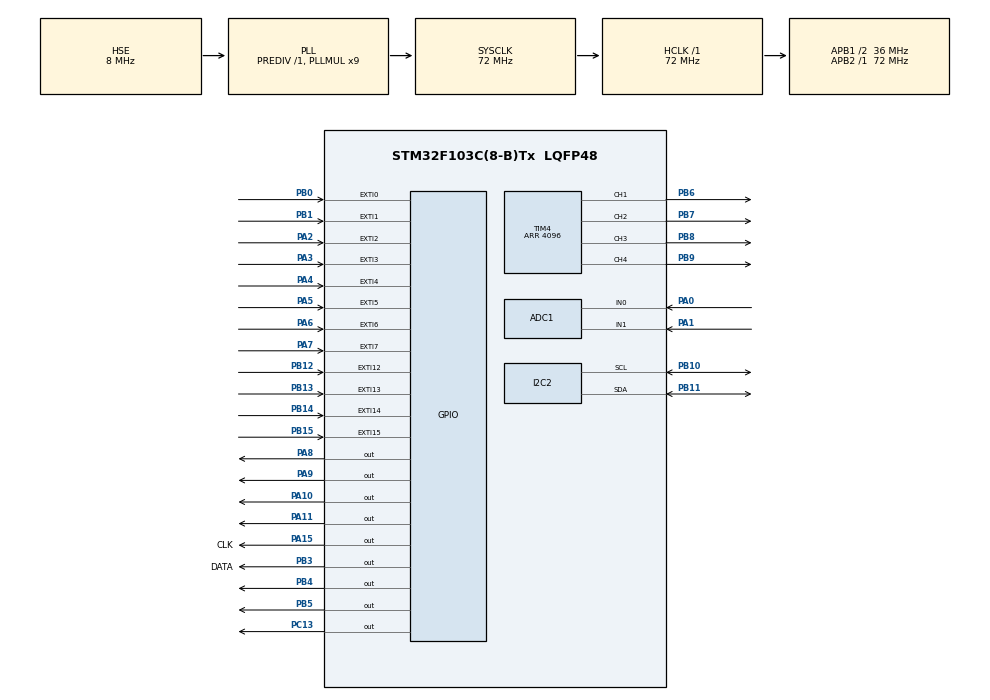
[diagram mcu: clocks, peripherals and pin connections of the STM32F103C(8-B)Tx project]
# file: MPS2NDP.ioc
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ADC1.Channel-0\#ChannelRegularConversion=ADC_CHANNEL_0
ADC1.ContinuousConvMode=DISABLE
ADC1.DataAlign=ADC_DATAALIGN_RIGHT
ADC1.DiscontinuousConvMode=DISABLE
ADC1.EnableAnalogWatchDog=false
ADC1.EnableRegularConversion=ENABLE
ADC1.ExternalTrigConv=ADC_SOFTWARE_START
ADC1.ExternalTrigInjecConv=ADC_INJECTED_SOFTWARE_START
ADC1.InjNumberOfConversion=2
ADC1.NbrOfConversion=1
ADC1.NbrOfConversionFlag=1
ADC1.Rank-0\#ChannelRegularConversion=1
ADC1.Rank-1\#ChannelInjectedConversion=1
ADC1.Rank-2\#ChannelInjectedConversion=2
ADC1.SamplingTime-0\#ChannelRegularConversion=ADC_SAMPLETIME_1CYCLE_5
ADC1.ScanConvMode=ADC_SCAN_ENABLE
ADC1.master=1
Mcu.Family=STM32F1
Mcu.Name=STM32F103C(8-B)Tx
Mcu.Package=LQFP48
NVIC.ADC1_2_IRQn=true\:0\:0\:false\:false\:true\:true\:true\:true
NVIC.EXTI0_IRQn=true\:0\:0\:false\:false\:true\:true\:true\:true
NVIC.EXTI15_10_IRQn=true\:0\:0\:false\:false\:true\:true\:true\:true
NVIC.EXTI1_IRQn=true\:0\:0\:false\:false\:true\:true\:true\:true
NVIC.EXTI2_IRQn=true\:0\:0\:false\:false\:true\:true\:true\:true
NVIC.EXTI3_IRQn=true\:0\:0\:false\:false\:true\:true\:true\:true
NVIC.EXTI4_IRQn=true\:0\:0\:false\:false\:true\:true\:true\:true
NVIC.EXTI9_5_IRQn=true\:0\:0\:false\:false\:true\:true\:true\:true
NVIC.PriorityGroup=NVIC_PRIORITYGROUP_4
NVIC.TIM1_UP_IRQn=true\:0\:0\:false\:false\:true\:true\:true\:true
NVIC.TIM2_IRQn=true\:0\:0\:false\:false\:true\:true\:true\:true
PA0-WKUP.Signal=ADCx_IN0
PA1.Signal=ADCx_IN1
PA10.Signal=GPIO_Output
PA11.Signal=GPIO_Output
PA13.Mode=Serial_Wire
PA13.Signal=SYS_JTMS-SWDIO
PA14.Mode=Serial_Wire
PA14.Signal=SYS_JTCK-SWCLK
PA15.GPIO_Label=CLK
PA15.Signal=GPIO_Output
PA2.GPIO_ModeDefaultEXTI=GPIO_MODE_IT_RISING_FALLING
PA2.GPIO_PuPd=GPIO_PULLDOWN
PA2.Signal=GPXTI2
PA3.GPIO_ModeDefaultEXTI=GPIO_MODE_IT_RISING_FALLING
PA3.GPIO_PuPd=GPIO_PULLDOWN
PA3.Signal=GPXTI3
PA4.GPIO_ModeDefaultEXTI=GPIO_MODE_IT_RISING_FALLING
PA4.GPIO_PuPd=GPIO_PULLDOWN
PA4.Signal=GPXTI4
PA5.GPIO_ModeDefaultEXTI=GPIO_MODE_IT_RISING_FALLING
PA5.GPIO_PuPd=GPIO_PULLDOWN
PA5.Signal=GPXTI5
PA6.GPIO_ModeDefaultEXTI=GPIO_MODE_IT_RISING_FALLING
PA6.GPIO_PuPd=GPIO_PULLDOWN
PA6.Signal=GPXTI6
PA7.GPIO_ModeDefaultEXTI=GPIO_MODE_IT_RISING_FALLING
PA7.GPIO_PuPd=GPIO_PULLDOWN
PA7.Signal=GPXTI7
PA8.Signal=GPIO_Output
PA9.Signal=GPIO_Output
PB0.GPIO_ModeDefaultEXTI=GPIO_MODE_IT_RISING_FALLING
PB0.GPIO_PuPd=GPIO_PULLDOWN
PB0.Signal=GPXTI0
PB1.GPIO_ModeDefaultEXTI=GPIO_MODE_IT_RISING_FALLING
PB1.GPIO_PuPd=GPIO_PULLDOWN
PB1.Signal=GPXTI1
PB10.GPIO_Pu=GPIO_PULLUP
PB10.Mode=I2C
PB10.Signal=I2C2_SCL
PB11.GPIO_Pu=GPIO_PULLUP
PB11.Mode=I2C
PB11.Signal=I2C2_SDA
PB12.GPIO_ModeDefaultEXTI=GPIO_MODE_IT_RISING_FALLING
PB12.GPIO_PuPd=GPIO_PULLDOWN
PB12.Signal=GPXTI12
PB13.GPIO_ModeDefaultEXTI=GPIO_MODE_IT_RISING_FALLING
PB13.GPIO_PuPd=GPIO_PULLDOWN
PB13.Signal=GPXTI13
PB14.GPIO_ModeDefaultEXTI=GPIO_MODE_IT_RISING_FALLING
PB14.GPIO_PuPd=GPIO_PULLDOWN
PB14.Signal=GPXTI14
PB15.GPIO_ModeDefaultEXTI=GPIO_MODE_IT_RISING_FALLING
PB15.GPIO_PuPd=GPIO_PULLDOWN
PB15.Signal=GPXTI15
PB3.GPIO_Label=DATA
PB3.Signal=GPIO_Output
PB4.Signal=GPIO_Output
PB5.Signal=GPIO_Output
PB6.Signal=S_TIM4_CH1
PB7.Signal=S_TIM4_CH2
PB8.Signal=S_TIM4_CH3
PB9.Signal=S_TIM4_CH4
PC13-TAMPER-RTC.Signal=GPIO_Output
PD0-OSC_IN.Mode=HSE-External-Oscillator
PD0-OSC_IN.Signal=RCC_OSC_IN
PD1-OSC_OUT.Mode=HSE-External-Oscillator
PD1-OSC_OUT.Signal=RCC_OSC_OUT
ProjectManager.HeapSize=0x200
ProjectManager.StackSize=0x400
ProjectManager.TargetToolchain=STM32CubeIDE
RCC.ADCPresc=RCC_ADCPCLK2_DIV6
RCC.AHBFreq_Value=72000000
RCC.APB1CLKDivider=RCC_HCLK_DIV2
RCC.APB1Freq_Value=36000000
RCC.APB1TimFreq_Value=72000000
RCC.APB2Freq_Value=72000000
RCC.APB2TimFreq_Value=72000000
RCC.HCLKFreq_Value=72000000
RCC.PLLMUL=RCC_PLL_MUL9
RCC.PLLSourceVirtual=RCC_PLLSOURCE_HSE
RCC.SYSCLKFreq_VALUE=72000000
RCC.SYSCLKSource=RCC_SYSCLKSOURCE_PLLCLK
RCC.USBFreq_Value=72000000
SH.ADCx_IN0.0=ADC1_IN0,IN0
SH.ADCx_IN1.0=ADC1_IN1,IN1
SH.S_TIM4_CH1.0=TIM4_CH1,PWM Generation1 CH1
SH.S_TIM4_CH2.0=TIM4_CH2,PWM Generation2 CH2
SH.S_TIM4_CH3.0=TIM4_CH3,PWM Generation3 CH3
SH.S_TIM4_CH4.0=TIM4_CH4,PWM Generation4 CH4
TIM1.Period=65535
TIM1.Prescaler=500
TIM2.Period=65535
TIM2.Prescaler=100
TIM4.Channel-PWM\ Generation1\ CH1=TIM_CHANNEL_1
TIM4.Channel-PWM\ Generation2\ CH2=TIM_CHANNEL_2
TIM4.Channel-PWM\ Generation3\ CH3=TIM_CHANNEL_3
TIM4.Channel-PWM\ Generation4\ CH4=TIM_CHANNEL_4
TIM4.Period=4096
VP_TIM1_VS_ClockSourceINT.Mode=Internal
VP_TIM2_VS_ClockSourceINT.Mode=Internal
board=Final

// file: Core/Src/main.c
/**
  ******************************************************************************
  * @file           : main.c
  * @brief          : Main program body
  ******************************************************************************
  ** This notice applies to any and all portions of this file
  * that are not between comment pairs USER CODE BEGIN and
  * USER CODE END. Other portions of this file, whether
  * inserted by the user or by software development tools
  * are owned by their respective copyright owners.
  *
  * COPYRIGHT(c) 2020 STMicroelectronics
  *
  * Redistribution and use in source and binary forms, with or without modification,
  * are permitted provided that the following conditions are met:
  *   1. Redistributions of source code must retain the above copyright notice,
  *      this list of conditions and the following disclaimer.
  *   2. Redistributions in binary form must reproduce the above copyright notice,
  *      this list of conditions and the following disclaimer in the documentation
  *      and/or other materials provided with the distribution.
  *   3. Neither the name of STMicroelectronics nor the names of its contributors
  *      may be used to endorse or promote products derived from this software
  *      without specific prior written permission.
  *
  * THIS SOFTWARE IS PROVIDED BY THE COPYRIGHT HOLDERS AND CONTRIBUTORS "AS IS"
  * AND ANY EXPRESS OR IMPLIED WARRANTIES, INCLUDING, BUT NOT LIMITED TO, THE
  * IMPLIED WARRANTIES OF MERCHANTABILITY AND FITNESS FOR A PARTICULAR PURPOSE ARE
  * DISCLAIMED. IN NO EVENT SHALL THE COPYRIGHT HOLDER OR CONTRIBUTORS BE LIABLE
  * FOR ANY DIRECT, INDIRECT, INCIDENTAL, SPECIAL, EXEMPLARY, OR CONSEQUENTIAL
  * DAMAGES (INCLUDING, BUT NOT LIMITED TO, PROCUREMENT OF SUBSTITUTE GOODS OR
  * SERVICES; LOSS OF USE, DATA, OR PROFITS; OR BUSINESS INTERRUPTION) HOWEVER
  * CAUSED AND ON ANY THEORY OF LIABILITY, WHETHER IN CONTRACT, STRICT LIABILITY,
  * OR TORT (INCLUDING NEGLIGENCE OR OTHERWISE) ARISING IN ANY WAY OUT OF THE USE
  * OF THIS SOFTWARE, EVEN IF ADVISED OF THE POSSIBILITY OF SUCH DAMAGE.
  *
  ******************************************************************************
  */
#include "main.h"
#include "stm32f1xx_hal.h"

/* USER CODE BEGIN Includes */
#include "tm1637.h" //Добавляем библиотеку для LED дисплея
/* USER CODE END Includes */

ADC_HandleTypeDef hadc1;

I2C_HandleTypeDef hi2c2;

TIM_HandleTypeDef htim1;
TIM_HandleTypeDef htim2;
TIM_HandleTypeDef htim4;

/* USER CODE BEGIN PV */
/* Private variables ---------------------------------------------------------*/
	uint8_t P=0; //Вводим переменную "P" (аврийка на светодиодах)
	uint8_t Lp=0; //Вводим переменную "Lp" (левый поворотник на светодиодах)
	uint8_t Rp=0; //Вводим переменную "Rp" (правый поворотник на светодиодах)
  uint16_t R1=0; //Вводим переменную "R1" для первого переменного резистора
	uint16_t R2=0; //Вводим переменную "R2" для второго переменного резистора
	uint8_t PLCD=0; //Вводим переменную "PLCD" (аврийка на ЖК дисплее)
	uint8_t LpLCD=0; //Вводим переменную "LpLCD" (левый поворотник на ЖК дисплеее)
	uint8_t RpLCD=0; //Вводим переменную "RpLCD" (правый поворотник на ЖК дисплеее)
	uint8_t W=0;  //Вводим переменную "W" для !WARNING! на ЖКдисплее
	uint16_t RPMHl=0; //Используется для определения оборотов двигателя левого
	uint16_t RPMHr=0; //Используется для определения оборотов двигателя правого
	uint16_t RPMl=0; //Используется для определения оборотов двигателя левого
	uint16_t RPMr=0; //Используется для определения оборотов двигателя правого
	int8_t STOP1=0; //Используется для определения определения напрвления вращения левого колеса
	int8_t STOP2=0; //Используется для определения определения напрвления вращения правого колеса
	uint64_t Mileage1=0; //Пробег 1-ого двигателя (в метрах)
	uint64_t Mileage2=0; //Пробег 2-ого двигателя (в метрах)
	uint8_t ABS=0; //Отвечает за состояние ABS
	int8_t ABSh=0; //Используется для синхронизации скорости вращения двигателей
	char str[100]; //Переменная для вывода строки на ЖК дисплей

/* USER CODE END PV */

void SystemClock_Config(void);
static void MX_GPIO_Init(void);
static void MX_TIM4_Init(void);
static void MX_ADC1_Init(void);
static void MX_I2C2_Init(void);
static void MX_TIM1_Init(void);
static void MX_TIM2_Init(void);

void HAL_TIM_MspPostInit(TIM_HandleTypeDef *htim);

/* USER CODE BEGIN PFP */
/* Private function prototypes -----------------------------------------------*/

/* USER CODE END PFP */

int main(void)
{

  /* MCU Configuration----------------------------------------------------------*/

  /* Reset of all peripherals, Initializes the Flash interface and the Systick. */
  HAL_Init();

  /* Configure the system clock */
  SystemClock_Config();

  /* Initialize all configured peripherals */
  MX_GPIO_Init();
  MX_TIM4_Init();
  MX_ADC1_Init();
  MX_I2C2_Init();
  MX_TIM1_Init();
  MX_TIM2_Init();
  /* USER CODE BEGIN 2 */
	LCD_ini();  //Включаем ЖК дисплей
	TM1637_brightness(BRIGHTEST); //Выставляем яркость LED дисплея на максимум
	        /*Проверка при старте*/
////////////////////////////////////////////////////////////////
/*Все светодиоды включатся*/
	HAL_GPIO_WritePin (GPIOA, GPIO_PIN_8,GPIO_PIN_SET);
	HAL_GPIO_WritePin (GPIOA, GPIO_PIN_9,GPIO_PIN_SET);
	HAL_GPIO_WritePin (GPIOA, GPIO_PIN_10,GPIO_PIN_SET);
	HAL_GPIO_WritePin (GPIOA, GPIO_PIN_11,GPIO_PIN_SET);
	HAL_GPIO_WritePin (GPIOB, GPIO_PIN_4,GPIO_PIN_SET);
	HAL_GPIO_WritePin (GPIOB, GPIO_PIN_5,GPIO_PIN_SET);
////////////////////////////////////////////////////////////////
/*На ЖК дисплее загораются все элементы*/
		LCD_SetPos(15, 0);
		sprintf(str,"|");
		LCD_String(str);
		LCD_SetPos(15, 1);
		sprintf(str,"|");
		LCD_String(str);
		LCD_SetPos(15, 2);
		sprintf(str,"|");
		LCD_String(str);
		LCD_SetPos(15, 3);
		sprintf(str,"|");
		LCD_String(str);
		LCD_SetPos(0, 0);
		sprintf(str,"Power\xFF\xFF\xFF\xFF\xFF\xFF\xFF\xFF\xFF\xFF");
		LCD_String(str);
		LCD_SetPos(0, 1);
		sprintf(str,"Mileage:0000000");
		LCD_String(str);
		LCD_SetPos(0, 2);
		sprintf(str,"RPM:0000  0000");
		LCD_String(str);
		LCD_SetPos(0, 3);
		sprintf(str,"DNR");
		LCD_String(str);
		LCD_SetPos(4, 3);
		sprintf(str,"!WARNING!");
		LCD_String(str);
		LCD_SetPos(17, 0);
		sprintf(str,"ABS");
		LCD_String(str);
		LCD_SetPos(17, 1);
		sprintf(str,"<!>");
		LCD_String(str);
		LCD_SetPos(18, 2);
		sprintf(str,"=D");
		LCD_String(str);
		LCD_SetPos(16, 3);
		sprintf(str,"STOP");
		LCD_String(str);
///////////////////////////////////////////////////////////////////////////////////////////
/*На LED дисплее дорожка делает 2 круга, символизируя загрузку*/
		TM1637_display(0,18);TM1637_display(1,18);TM1637_display(2,18);TM1637_display(3,18);
		HAL_Delay(50);
		TM1637_display(0,19);	TM1637_display(1,19);	TM1637_display(2,19);	TM1637_display(3,19);
		HAL_Delay(50);
		TM1637_display(0,20);TM1637_display(1,20);TM1637_display(2,20);TM1637_display(3,20);
		HAL_Delay(50);
		TM1637_display(0,21);TM1637_display(1,21);TM1637_display(2,21);TM1637_display(3,21);
		HAL_Delay(50);
		TM1637_display(0,22);TM1637_display(1,22);TM1637_display(2,22);TM1637_display(3,22);
		HAL_Delay(50);
		TM1637_display(0,23);TM1637_display(1,23);TM1637_display(2,23);TM1637_display(3,23);
		HAL_Delay(50);

		TM1637_display(0,18);TM1637_display(1,18);TM1637_display(2,18);TM1637_display(3,18);
		HAL_Delay(50);
		TM1637_display(0,19);TM1637_display(1,19);TM1637_display(2,19);TM1637_display(3,19);
		HAL_Delay(50);
		TM1637_display(0,20);TM1637_display(1,20);TM1637_display(2,20);TM1637_display(3,20);
		HAL_Delay(50);
		TM1637_display(0,21);TM1637_display(1,21);TM1637_display(2,21);TM1637_display(3,21);
		HAL_Delay(50);
		TM1637_display(0,22);TM1637_display(1,22);TM1637_display(2,22);TM1637_display(3,22);
		HAL_Delay(50);
		TM1637_display(0,24);TM1637_display(1,24);TM1637_display(2,24);TM1637_display(3,24);
		HAL_Delay(100);
		TM1637_clearDisplay();
		HAL_Delay(500);
/////////////////////////////////////////////////////////////////////////////////////////////
/*Все светодиоды потухают*/
	HAL_GPIO_WritePin (GPIOA, GPIO_PIN_8,GPIO_PIN_RESET);
	HAL_GPIO_WritePin (GPIOA, GPIO_PIN_9,GPIO_PIN_RESET);
	HAL_GPIO_WritePin (GPIOA, GPIO_PIN_10,GPIO_PIN_RESET);
	HAL_GPIO_WritePin (GPIOA, GPIO_PIN_11,GPIO_PIN_RESET);
	HAL_GPIO_WritePin (GPIOB, GPIO_PIN_4,GPIO_PIN_RESET);
	HAL_GPIO_WritePin (GPIOB, GPIO_PIN_5,GPIO_PIN_RESET);
////////////////////////////////////////////////////////
/*Гаснут элементы на ЖК дисплее, имеющие переменное значение*/
	LCD_SetPos(0, 0);
	sprintf(str,"Power          "); //Дорожка POWER
	LCD_String(str);
	LCD_SetPos(0, 3);
	sprintf(str,"   "); //Drive mode
	LCD_String(str);
	LCD_SetPos(4, 3);
	sprintf(str,"         "); //Выключаем !WARNING!
	LCD_String(str);
	LCD_SetPos(17, 0);
	sprintf(str,"   "); //Выключаем ABS
	LCD_String(str);
	LCD_SetPos(17, 1);
	sprintf(str,"   "); //Выключаем аварийку и поворотники
	LCD_String(str);
	LCD_SetPos(18, 2);
	sprintf(str,"  "); //Выключаем фары
	LCD_String(str);
	LCD_SetPos(16, 3);
	sprintf(str,"    "); //Выключаем ручник "STOP"
	LCD_String(str);

//////////////////////////////////////////////////////////////////////////////////////////////////////////////////////////////////////
  HAL_TIM_Base_Start_IT(&htim1); //Стартуем таймер 1 по прерыванию (для светодиодов).
	HAL_TIM_Base_Start_IT(&htim2); //Стартуем таймер 1 по прерыванию (для переменного резистора).
	HAL_TIM_PWM_Start(&htim4, TIM_CHANNEL_1); //Стартуем таймер 4 (по ШИМ каналу 1) для драйвера
	HAL_TIM_PWM_Start(&htim4, TIM_CHANNEL_2); //Стартуем таймер 4 (по ШИМ каналу 2) для драйвера
	HAL_TIM_PWM_Start(&htim4, TIM_CHANNEL_3); //Стартуем таймер 4 (по ШИМ каналу 3) для драйвера
	HAL_TIM_PWM_Start(&htim4, TIM_CHANNEL_4); //Стартуем таймер 4 (по ШИМ каналу 4) для драйвера
	HAL_ADC_Start_IT(&hadc1);  //Стартуем прерывание по АЦП 1
 // TM1637_brightness(BRIGHTEST); //Выставляем яркость LED дисплея на максимум
////////////////////////////////////////////////////////////////////////////////////////////////////////////////////////////////////
/*Вводим переменные для вывода на дисплеи элементов в момент их вызова*/
uint16_t led=0; //Скорость на LED дисплее (м/мин)
  uint64_t Mileages=0; //Пробег
	uint16_t RPMls=0; //Обороты левого колеса
	uint16_t RPMrs=0; //Обороты правого колеса
	uint8_t lights=0; //Фары
	uint8_t lp=0; //Левый поворотник
  uint8_t rp=0;  //Правый поворотник
	uint8_t p=0;  //Аварийка
	uint8_t ff=0;  //POWER- дорожка
	uint8_t hb=0;  //Ручник (HandBreak)
	uint8_t w=0; //!WARNING!
	uint8_t abs=0; //ABS
////////////////////////////////////////////////////////////////////////////////////////////////////////////////////////////////////
  /* USER CODE END 2 */

  /* Infinite loop */
  /* USER CODE BEGIN WHILE */
  while (1)
  {
		/*Вывод значения на LED дисплей*/
///////////////////////////////////////////////////////////////////////////
		if(led!=(RPMl+RPMr)/175){
	    TM1637_display_all((RPMl+RPMr)/175);  //Выводим скорость в метрах в минуту
			led=(RPMl+RPMr)/175;
		}
////////////////////////////////////////////////////////////////////////////
  /* USER CODE END WHILE */

  /* USER CODE BEGIN 3 */
		                                /*Вывод значений на ЖК дисплей*/
//////////////////////////////////////////////////////////////////////////////////////////////////////////////////////////////////////
	  /*Пробег*/
		if(Mileages!=(Mileage1+Mileage2)/3806){
			LCD_SetPos(8, 1);
			sprintf(str,"%07d",(Mileage1+Mileage2)/3806); //Выводим пробег
			LCD_String(str);
			Mileages=(Mileage1+Mileage2)/3806;
		}
////////////////////////////////////
	  /*RPM*/
		if(RPMls!=RPMl/34){
			LCD_SetPos(4, 2);
			sprintf(str,"%04d",RPMl/34); //Выводим обороты первого двигателя
			LCD_String(str);
			RPMls=RPMl/34;
		}
		if(RPMrs!=RPMr/34){
			LCD_SetPos(10, 2);
			sprintf(str,"%04d",RPMr/34); //Выводим обороты второго двигателя
			LCD_String(str);
			RPMrs=RPMr/34;
		}
//////////////////////////////////////////////////////////////////////////////////////////////////////////////////////////////////////
	  /*Фары*/
		if(HAL_GPIO_ReadPin (GPIOA,GPIO_PIN_9)==GPIO_PIN_RESET&&lights==0){
			LCD_SetPos(18, 2);
			sprintf(str,"  ");
			LCD_String(str);
			lights=1;
		}
		if(HAL_GPIO_ReadPin (GPIOA,GPIO_PIN_9)==GPIO_PIN_SET&&lights==1){
			LCD_SetPos(18, 2);
			sprintf(str,"=D");
			LCD_String(str);
			lights=0;
		}
/////////////////////////////////////////////////////////////
		/*Drive mode*/
			if(HAL_GPIO_ReadPin (GPIOB,GPIO_PIN_0)==GPIO_PIN_SET){
				LCD_SetPos(0, 3);
				sprintf(str,"D  ");
				LCD_String(str);
			}
			if(HAL_GPIO_ReadPin (GPIOB,GPIO_PIN_1)==GPIO_PIN_SET){
				LCD_SetPos(0, 3);
				sprintf(str,"  R");
				LCD_String(str);
			}
		 if(HAL_GPIO_ReadPin (GPIOB,GPIO_PIN_0)==GPIO_PIN_RESET&&HAL_GPIO_ReadPin (GPIOB,GPIO_PIN_1)==GPIO_PIN_RESET){
				LCD_SetPos(0, 3);
				sprintf(str," N ");
				LCD_String(str);
			 }
//////////////////////////////////////////////////////////////
 /*Поворотники*/
		 /*Левый*/
		if(LpLCD==3){
			LCD_SetPos(17, 1);
			sprintf(str,"<");
			LCD_String(str);
			lp=0;
			}
    if(LpLCD==2){
		 LCD_SetPos(17, 1);
			sprintf(str," ");
			LCD_String(str);
		}
		if(LpLCD==1&&lp==0){
			LCD_SetPos(17, 1);
			sprintf(str," ");
			LCD_String(str);
			LpLCD=0;
			lp=1;
		}
		/*Правый*/
		if(RpLCD==3){
			LCD_SetPos(19, 1);
			sprintf(str,">");
			LCD_String(str);
			rp=0;
			}
    if(RpLCD==2){
		 LCD_SetPos(19, 1);
			sprintf(str," ");
			LCD_String(str);
		}
		if(RpLCD==1&&rp==0){
			LCD_SetPos(19, 1);
			sprintf(str," ");
			LCD_String(str);
			RpLCD=0;
			rp=1;
		}

//////////////////////////////////////////////////////////////
		/*Аварийка*/
		if(PLCD==3){
			LCD_SetPos(17, 1);
			sprintf(str,"<!>");
			LCD_String(str);
	    p=0;
		}
		if(PLCD==2){
			LCD_SetPos(17, 1);
			sprintf(str," ! ");
			LCD_String(str);
		}
		if(PLCD==1&&p==0){
			LCD_SetPos(17, 1);
			sprintf(str,"   ");
			LCD_String(str);
			PLCD=0;
			p=1;
		}
////////////////////////////////////////////////////////////////////
		/*ABS*/
		if(ABS==0&&abs==0){
			LCD_SetPos(17, 0);
			sprintf(str,"   ");
			LCD_String(str);
			abs=1;
		}
		if(ABS==1&&abs==1){
			LCD_SetPos(17, 0);
			sprintf(str,"ABS");
			LCD_String(str);
			abs=0;
		}
//////////////////////////////////////////////////////////////
		/*Ручник*/
		if(HAL_GPIO_ReadPin (GPIOA,GPIO_PIN_7)==GPIO_PIN_RESET&&hb==0){
			LCD_SetPos(16, 3);
			sprintf(str,"    ");
			LCD_String(str);
			hb=1;
		}
		if(HAL_GPIO_ReadPin (GPIOA,GPIO_PIN_7)==GPIO_PIN_SET){
			LCD_SetPos(16, 3);
			sprintf(str,"STOP");
			LCD_String(str);
			hb=0;
		}
///////////////////////////////////////////////////////////////
		/*!WARNING!*/
		if(W==0&&w==0){
			LCD_SetPos(4, 3);
			sprintf(str,"         ");
			LCD_String(str);
			w=1;
		}
		if(W==1&&w==1){
			LCD_SetPos(4, 3);
			sprintf(str,"!WARNING!");
			LCD_String(str);
			w=0;
		}
///////////////////////////////////////////////////////////////
    /*POWER*/
		if(R1==0&&ff!=0){ //Если R1=0%
		  LCD_SetPos(5, 0);
		  sprintf(str,"          ");
		  LCD_String(str);
			ff=0;
		}
    if(R1>=402.8&&R1<805.6&&ff!=1){  //Если R1=10%
		  LCD_SetPos(5, 0);
		  sprintf(str,"\xFF         ");
		  LCD_String(str);
			ff=1;
		}
   if(R1>=805.6&&R1<1208.4&&ff!=2){  //Если R1=20%
		  LCD_SetPos(5, 0);
		  sprintf(str,"\xFF\xFF        ");
		  LCD_String(str);
			ff=2;
		}
   if(R1>=1208.4&&R1<1611.2&&ff!=3){  //Если R1=30%
		  LCD_SetPos(5, 0);
		  sprintf(str,"\xFF\xFF\xFF       ");
		  LCD_String(str);
			ff=3;
		}
   if(R1>=1611.2&&R1<2014.0&&ff!=4){  //Если R1=40%
		  LCD_SetPos(5, 0);
		  sprintf(str,"\xFF\xFF\xFF\xFF      ");
		  LCD_String(str);
			ff=4;
		}
   if(R1>=2014.0&&R1<2416.8&&ff!=5){  //Если R1=50%
		  LCD_SetPos(5, 0);
		  sprintf(str,"\xFF\xFF\xFF\xFF\xFF     ");
		  LCD_String(str);
			ff=5;
		}
   if(R1>=2416.8&&R1<2819.6&&ff!=6){  //Если R1=60%
		  LCD_SetPos(5, 0);
		  sprintf(str,"\xFF\xFF\xFF\xFF\xFF\xFF    ");
		  LCD_String(str);
			ff=6;
		}
   if(R1>=2819.6&&R1<3222.4&&ff!=7){  //Если R1=70%
		  LCD_SetPos(5, 0);
		  sprintf(str,"\xFF\xFF\xFF\xFF\xFF\xFF\xFF   ");
		  LCD_String(str);
			ff=7;
		}
   if(R1>=3222.4&&R1<3625.2&&ff!=8){  //Если R1=80%
		  LCD_SetPos(5, 0);
		  sprintf(str,"\xFF\xFF\xFF\xFF\xFF\xFF\xFF\xFF  ");
		  LCD_String(str);
			ff=8;
		}
   if(R1>=3625.2&&R1<3900.0&&ff!=9){  //Если R1=90%
		  LCD_SetPos(5, 0);
		  sprintf(str,"\xFF\xFF\xFF\xFF\xFF\xFF\xFF\xFF\xFF ");
		  LCD_String(str);
			ff=9;
		}
   if(R1>=3900.0&&ff!=10){  //Если R1=100%
		  LCD_SetPos(5, 0);
		  sprintf(str,"\xFF\xFF\xFF\xFF\xFF\xFF\xFF\xFF\xFF\xFF");
		  LCD_String(str);
			ff=10;
		}
//////////////////////////////////////////////////////////////////////////////////////////////////////////////////////////////////////
//	  HAL_Delay(100);
		HAL_GPIO_TogglePin(GPIOC, GPIO_PIN_13);  //Мигаем 13-м светодиодом для проверки скорости работы while
	}
  /* USER CODE END 3 */

}

void SystemClock_Config(void)
{

  RCC_OscInitTypeDef RCC_OscInitStruct;
  RCC_ClkInitTypeDef RCC_ClkInitStruct;
  RCC_PeriphCLKInitTypeDef PeriphClkInit;

    /**Initializes the CPU, AHB and APB busses clocks
    */
  RCC_OscInitStruct.OscillatorType = RCC_OSCILLATORTYPE_HSE;
  RCC_OscInitStruct.HSEState = RCC_HSE_ON;
  RCC_OscInitStruct.HSEPredivValue = RCC_HSE_PREDIV_DIV1;
  RCC_OscInitStruct.HSIState = RCC_HSI_ON;
  RCC_OscInitStruct.PLL.PLLState = RCC_PLL_ON;
  RCC_OscInitStruct.PLL.PLLSource = RCC_PLLSOURCE_HSE;
  RCC_OscInitStruct.PLL.PLLMUL = RCC_PLL_MUL9;
  if (HAL_RCC_OscConfig(&RCC_OscInitStruct) != HAL_OK)
  {
    _Error_Handler(__FILE__, __LINE__);
  }

    /**Initializes the CPU, AHB and APB busses clocks
    */
  RCC_ClkInitStruct.ClockType = RCC_CLOCKTYPE_HCLK|RCC_CLOCKTYPE_SYSCLK
                              |RCC_CLOCKTYPE_PCLK1|RCC_CLOCKTYPE_PCLK2;
  RCC_ClkInitStruct.SYSCLKSource = RCC_SYSCLKSOURCE_PLLCLK;
  RCC_ClkInitStruct.AHBCLKDivider = RCC_SYSCLK_DIV1;
  RCC_ClkInitStruct.APB1CLKDivider = RCC_HCLK_DIV2;
  RCC_ClkInitStruct.APB2CLKDivider = RCC_HCLK_DIV1;

  if (HAL_RCC_ClockConfig(&RCC_ClkInitStruct, FLASH_LATENCY_2) != HAL_OK)
  {
    _Error_Handler(__FILE__, __LINE__);
  }

  PeriphClkInit.PeriphClockSelection = RCC_PERIPHCLK_ADC;
  PeriphClkInit.AdcClockSelection = RCC_ADCPCLK2_DIV6;
  if (HAL_RCCEx_PeriphCLKConfig(&PeriphClkInit) != HAL_OK)
  {
    _Error_Handler(__FILE__, __LINE__);
  }

    /**Configure the Systick interrupt time
    */
  HAL_SYSTICK_Config(HAL_RCC_GetHCLKFreq()/1000);

    /**Configure the Systick
    */
  HAL_SYSTICK_CLKSourceConfig(SYSTICK_CLKSOURCE_HCLK);

  /* SysTick_IRQn interrupt configuration */
  HAL_NVIC_SetPriority(SysTick_IRQn, 0, 0);
}

/* ADC1 init function */
static void MX_ADC1_Init(void)
{

  ADC_ChannelConfTypeDef sConfig;
  ADC_InjectionConfTypeDef sConfigInjected;

    /**Common config
    */
  hadc1.Instance = ADC1;
  hadc1.Init.ScanConvMode = ADC_SCAN_ENABLE;
  hadc1.Init.ContinuousConvMode = DISABLE;
  hadc1.Init.DiscontinuousConvMode = DISABLE;
  hadc1.Init.ExternalTrigConv = ADC_SOFTWARE_START;
  hadc1.Init.DataAlign = ADC_DATAALIGN_RIGHT;
  hadc1.Init.NbrOfConversion = 1;
  if (HAL_ADC_Init(&hadc1) != HAL_OK)
  {
    _Error_Handler(__FILE__, __LINE__);
  }

    /**Configure Regular Channel
    */
  sConfig.Channel = ADC_CHANNEL_0;
  sConfig.Rank = ADC_REGULAR_RANK_1;
  sConfig.SamplingTime = ADC_SAMPLETIME_1CYCLE_5;
  if (HAL_ADC_ConfigChannel(&hadc1, &sConfig) != HAL_OK)
  {
    _Error_Handler(__FILE__, __LINE__);
  }

    /**Configure Injected Channel
    */
  sConfigInjected.InjectedChannel = ADC_CHANNEL_0;
  sConfigInjected.InjectedRank = ADC_INJECTED_RANK_1;
  sConfigInjected.InjectedNbrOfConversion = 2;
  sConfigInjected.InjectedSamplingTime = ADC_SAMPLETIME_1CYCLE_5;
  sConfigInjected.ExternalTrigInjecConv = ADC_INJECTED_SOFTWARE_START;
  sConfigInjected.AutoInjectedConv = DISABLE;
  sConfigInjected.InjectedDiscontinuousConvMode = DISABLE;
  sConfigInjected.InjectedOffset = 0;
  if (HAL_ADCEx_InjectedConfigChannel(&hadc1, &sConfigInjected) != HAL_OK)
  {
    _Error_Handler(__FILE__, __LINE__);
  }

    /**Configure Injected Channel
    */
  sConfigInjected.InjectedChannel = ADC_CHANNEL_1;
  sConfigInjected.InjectedRank = ADC_INJECTED_RANK_2;
  if (HAL_ADCEx_InjectedConfigChannel(&hadc1, &sConfigInjected) != HAL_OK)
  {
    _Error_Handler(__FILE__, __LINE__);
  }

}

/* I2C2 init function */
static void MX_I2C2_Init(void)
{

  hi2c2.Instance = I2C2;
  hi2c2.Init.ClockSpeed = 100000;
  hi2c2.Init.DutyCycle = I2C_DUTYCYCLE_2;
  hi2c2.Init.OwnAddress1 = 0;
  hi2c2.Init.AddressingMode = I2C_ADDRESSINGMODE_7BIT;
  hi2c2.Init.DualAddressMode = I2C_DUALADDRESS_DISABLE;
  hi2c2.Init.OwnAddress2 = 0;
  hi2c2.Init.GeneralCallMode = I2C_GENERALCALL_DISABLE;
  hi2c2.Init.NoStretchMode = I2C_NOSTRETCH_DISABLE;
  if (HAL_I2C_Init(&hi2c2) != HAL_OK)
  {
    _Error_Handler(__FILE__, __LINE__);
  }

}

/* TIM1 init function */
static void MX_TIM1_Init(void)
{

  TIM_ClockConfigTypeDef sClockSourceConfig;
  TIM_MasterConfigTypeDef sMasterConfig;

  htim1.Instance = TIM1;
  htim1.Init.Prescaler = 500;
  htim1.Init.CounterMode = TIM_COUNTERMODE_UP;
  htim1.Init.Period = 65535;
  htim1.Init.ClockDivision = TIM_CLOCKDIVISION_DIV1;
  htim1.Init.RepetitionCounter = 0;
  htim1.Init.AutoReloadPreload = TIM_AUTORELOAD_PRELOAD_DISABLE;
  if (HAL_TIM_Base_Init(&htim1) != HAL_OK)
  {
    _Error_Handler(__FILE__, __LINE__);
  }

  sClockSourceConfig.ClockSource = TIM_CLOCKSOURCE_INTERNAL;
  if (HAL_TIM_ConfigClockSource(&htim1, &sClockSourceConfig) != HAL_OK)
  {
    _Error_Handler(__FILE__, __LINE__);
  }

  sMasterConfig.MasterOutputTrigger = TIM_TRGO_RESET;
  sMasterConfig.MasterSlaveMode = TIM_MASTERSLAVEMODE_DISABLE;
  if (HAL_TIMEx_MasterConfigSynchronization(&htim1, &sMasterConfig) != HAL_OK)
  {
    _Error_Handler(__FILE__, __LINE__);
  }

}

/* TIM2 init function */
static void MX_TIM2_Init(void)
{

  TIM_ClockConfigTypeDef sClockSourceConfig;
  TIM_MasterConfigTypeDef sMasterConfig;

  htim2.Instance = TIM2;
  htim2.Init.Prescaler = 100;
  htim2.Init.CounterMode = TIM_COUNTERMODE_UP;
  htim2.Init.Period = 65535;
  htim2.Init.ClockDivision = TIM_CLOCKDIVISION_DIV1;
  htim2.Init.AutoReloadPreload = TIM_AUTORELOAD_PRELOAD_DISABLE;
  if (HAL_TIM_Base_Init(&htim2) != HAL_OK)
  {
    _Error_Handler(__FILE__, __LINE__);
  }

  sClockSourceConfig.ClockSource = TIM_CLOCKSOURCE_INTERNAL;
  if (HAL_TIM_ConfigClockSource(&htim2, &sClockSourceConfig) != HAL_OK)
  {
    _Error_Handler(__FILE__, __LINE__);
  }

  sMasterConfig.MasterOutputTrigger = TIM_TRGO_RESET;
  sMasterConfig.MasterSlaveMode = TIM_MASTERSLAVEMODE_DISABLE;
  if (HAL_TIMEx_MasterConfigSynchronization(&htim2, &sMasterConfig) != HAL_OK)
  {
    _Error_Handler(__FILE__, __LINE__);
  }

}

/* TIM4 init function */
static void MX_TIM4_Init(void)
{

  TIM_MasterConfigTypeDef sMasterConfig;
  TIM_OC_InitTypeDef sConfigOC;

  htim4.Instance = TIM4;
  htim4.Init.Prescaler = 0;
  htim4.Init.CounterMode = TIM_COUNTERMODE_UP;
  htim4.Init.Period = 4096;
  htim4.Init.ClockDivision = TIM_CLOCKDIVISION_DIV1;
  htim4.Init.AutoReloadPreload = TIM_AUTORELOAD_PRELOAD_DISABLE;
  if (HAL_TIM_PWM_Init(&htim4) != HAL_OK)
  {
    _Error_Handler(__FILE__, __LINE__);
  }

  sMasterConfig.MasterOutputTrigger = TIM_TRGO_RESET;
  sMasterConfig.MasterSlaveMode = TIM_MASTERSLAVEMODE_DISABLE;
  if (HAL_TIMEx_MasterConfigSynchronization(&htim4, &sMasterConfig) != HAL_OK)
  {
    _Error_Handler(__FILE__, __LINE__);
  }

  sConfigOC.OCMode = TIM_OCMODE_PWM1;
  sConfigOC.Pulse = 0;
  sConfigOC.OCPolarity = TIM_OCPOLARITY_HIGH;
  sConfigOC.OCFastMode = TIM_OCFAST_DISABLE;
  if (HAL_TIM_PWM_ConfigChannel(&htim4, &sConfigOC, TIM_CHANNEL_1) != HAL_OK)
  {
    _Error_Handler(__FILE__, __LINE__);
  }

  if (HAL_TIM_PWM_ConfigChannel(&htim4, &sConfigOC, TIM_CHANNEL_2) != HAL_OK)
  {
    _Error_Handler(__FILE__, __LINE__);
  }

  if (HAL_TIM_PWM_ConfigChannel(&htim4, &sConfigOC, TIM_CHANNEL_3) != HAL_OK)
  {
    _Error_Handler(__FILE__, __LINE__);
  }

  if (HAL_TIM_PWM_ConfigChannel(&htim4, &sConfigOC, TIM_CHANNEL_4) != HAL_OK)
  {
    _Error_Handler(__FILE__, __LINE__);
  }

  HAL_TIM_MspPostInit(&htim4);

}

/** Configure pins as
        * Analog
        * Input
        * Output
        * EVENT_OUT
        * EXTI
*/
static void MX_GPIO_Init(void)
{

  GPIO_InitTypeDef GPIO_InitStruct;

  /* GPIO Ports Clock Enable */
  __HAL_RCC_GPIOC_CLK_ENABLE();
  __HAL_RCC_GPIOD_CLK_ENABLE();
  __HAL_RCC_GPIOA_CLK_ENABLE();
  __HAL_RCC_GPIOB_CLK_ENABLE();

  /*Configure GPIO pin Output Level */
  HAL_GPIO_WritePin(GPIOC, GPIO_PIN_13, GPIO_PIN_RESET);

  /*Configure GPIO pin Output Level */
  HAL_GPIO_WritePin(GPIOA, GPIO_PIN_8|GPIO_PIN_9|GPIO_PIN_10|GPIO_PIN_11
                          |CLK_Pin, GPIO_PIN_RESET);

  /*Configure GPIO pin Output Level */
  HAL_GPIO_WritePin(GPIOB, DATA_Pin|GPIO_PIN_4|GPIO_PIN_5, GPIO_PIN_RESET);

  /*Configure GPIO pin : PC13 */
  GPIO_InitStruct.Pin = GPIO_PIN_13;
  GPIO_InitStruct.Mode = GPIO_MODE_OUTPUT_PP;
  GPIO_InitStruct.Speed = GPIO_SPEED_FREQ_LOW;
  HAL_GPIO_Init(GPIOC, &GPIO_InitStruct);

  /*Configure GPIO pins : PA2 PA3 PA4 PA5
                           PA6 PA7 */
  GPIO_InitStruct.Pin = GPIO_PIN_2|GPIO_PIN_3|GPIO_PIN_4|GPIO_PIN_5
                          |GPIO_PIN_6|GPIO_PIN_7;
  GPIO_InitStruct.Mode = GPIO_MODE_IT_RISING_FALLING;
  GPIO_InitStruct.Pull = GPIO_PULLDOWN;
  HAL_GPIO_Init(GPIOA, &GPIO_InitStruct);

  /*Configure GPIO pins : PB0 PB1 PB12 PB13
                           PB14 PB15 */
  GPIO_InitStruct.Pin = GPIO_PIN_0|GPIO_PIN_1|GPIO_PIN_12|GPIO_PIN_13
                          |GPIO_PIN_14|GPIO_PIN_15;
  GPIO_InitStruct.Mode = GPIO_MODE_IT_RISING_FALLING;
  GPIO_InitStruct.Pull = GPIO_PULLDOWN;
  HAL_GPIO_Init(GPIOB, &GPIO_InitStruct);

  /*Configure GPIO pins : PA8 PA9 PA10 PA11
                           CLK_Pin */
  GPIO_InitStruct.Pin = GPIO_PIN_8|GPIO_PIN_9|GPIO_PIN_10|GPIO_PIN_11
                          |CLK_Pin;
  GPIO_InitStruct.Mode = GPIO_MODE_OUTPUT_PP;
  GPIO_InitStruct.Speed = GPIO_SPEED_FREQ_LOW;
  HAL_GPIO_Init(GPIOA, &GPIO_InitStruct);

  /*Configure GPIO pins : DATA_Pin PB4 PB5 */
  GPIO_InitStruct.Pin = DATA_Pin|GPIO_PIN_4|GPIO_PIN_5;
  GPIO_InitStruct.Mode = GPIO_MODE_OUTPUT_PP;
  GPIO_InitStruct.Speed = GPIO_SPEED_FREQ_LOW;
  HAL_GPIO_Init(GPIOB, &GPIO_InitStruct);

  /* EXTI interrupt init*/
  HAL_NVIC_SetPriority(EXTI0_IRQn, 0, 0);
  HAL_NVIC_EnableIRQ(EXTI0_IRQn);

  HAL_NVIC_SetPriority(EXTI1_IRQn, 0, 0);
  HAL_NVIC_EnableIRQ(EXTI1_IRQn);

  HAL_NVIC_SetPriority(EXTI2_IRQn, 0, 0);
  HAL_NVIC_EnableIRQ(EXTI2_IRQn);

  HAL_NVIC_SetPriority(EXTI3_IRQn, 0, 0);
  HAL_NVIC_EnableIRQ(EXTI3_IRQn);

  HAL_NVIC_SetPriority(EXTI4_IRQn, 0, 0);
  HAL_NVIC_EnableIRQ(EXTI4_IRQn);

  HAL_NVIC_SetPriority(EXTI9_5_IRQn, 0, 0);
  HAL_NVIC_EnableIRQ(EXTI9_5_IRQn);

  HAL_NVIC_SetPriority(EXTI15_10_IRQn, 0, 0);
  HAL_NVIC_EnableIRQ(EXTI15_10_IRQn);

}

/* USER CODE BEGIN 4 */
void HAL_ADCEx_InjectedConvCpltCallback(ADC_HandleTypeDef* hadc1) // - прерывание по оканчанию АЦП
{
	R1=HAL_ADCEx_InjectedGetValue(hadc1,ADC_INJECTED_RANK_1);//Заносим в переменную R1 результат АЦП 1-ого канала
	R2=HAL_ADCEx_InjectedGetValue(hadc1,ADC_INJECTED_RANK_2);//Заносим в переменную R2 результат АЦП 2-ого канала

////////////////////////////////////////////////////////////////////////////////////////////////////////////////////////////////////////
	if(HAL_GPIO_ReadPin (GPIOB,GPIO_PIN_0)==GPIO_PIN_SET && HAL_GPIO_ReadPin (GPIOA,GPIO_PIN_7)==GPIO_PIN_RESET&&R2<=400){ //Если рычаг переключен вперед (D) и если ручник не опущен:
		/*Моторы вращаются вперед*/
		TIM4->CCR1=R1; //Заносим в регистр значение (R1) для изменения скважнести ШИМа
		TIM4->CCR2=0; //Заносим в регистр значение (0) для изменения скважнести ШИМа
		TIM4->CCR3=R1; //Заносим в регистр значение (R1) для изменения скважнести ШИМа
		TIM4->CCR4=0; //Заносим в регистр значение (0) для изменения скважнести ШИМа
	}
	if(HAL_GPIO_ReadPin (GPIOB,GPIO_PIN_1)==GPIO_PIN_SET && HAL_GPIO_ReadPin (GPIOA,GPIO_PIN_7)==GPIO_PIN_RESET&&R2<=400){ //Иначе, если рычаг переключен назад(R) и если ручник не опущен:
		/*Моторы вращаются назад*/
		TIM4->CCR1=0; //Заносим в регистр значение (0) для изменения скважнести ШИМа
		TIM4->CCR2=R1; //Заносим в регистр значение (R1) для изменения скважнести ШИМа
		TIM4->CCR3=0; //Заносим в регистр значение (0) для изменения скважнести ШИМа
		TIM4->CCR4=R1; //Заносим в регистр значение (R1) для изменения скважнести ШИМа
	}
	if(HAL_GPIO_ReadPin (GPIOB,GPIO_PIN_0)==GPIO_PIN_RESET && HAL_GPIO_ReadPin (GPIOB,GPIO_PIN_1)==GPIO_PIN_RESET && HAL_GPIO_ReadPin (GPIOA,GPIO_PIN_7)==GPIO_PIN_RESET&&R2<=400){ //пначе рычаг нходиться в нейтральном положении(N):
		/*Моторы останавливаются*/
		TIM4->CCR1=0; //Заносим в регистр значение (0) для изменения скважнести ШИМа
		TIM4->CCR2=0; //Заносим в регистр значение (0) для изменения скважнести ШИМа
		TIM4->CCR3=0; //Заносим в регистр значение (0) для изменения скважнести ШИМа
		TIM4->CCR4=0; //Заносим в регистр значение (0) для изменения скважнести ШИМа
	}
	/*ручник на двигателях*/
	if(HAL_GPIO_ReadPin (GPIOA,GPIO_PIN_7)==GPIO_PIN_SET){ //Нажат ручник:
		R2=4000; //Активируем тормоза на полную мощность
	}

///////////////////////////////////////////////////////////////////////////////////////////////////////////////////////////////////////////////////////////////
}
void HAL_GPIO_EXTI_Callback(uint16_t GPIO_Pin){
		/*тормоза*/
	/*Левое колесо*/
	if(R2>400 && STOP1>1){
		TIM4->CCR1=0; //Заносим в регистр значение (0) для изменения скважнести ШИМа
		TIM4->CCR2=R2*STOP1/4; //Заносим в регистр значение (R2*STOP1/4) для изменения скважнести ШИМа
	}
 	if(R2>400 && STOP1<-1){
		TIM4->CCR1=R2*STOP1/-4; //Заносим в регистр значение (R2*STOP1/-4) для изменения скважнести ШИМа
		TIM4->CCR2=0; //Заносим в регистр значение (0) для изменения скважнести ШИМа
	}
	if(R2>400 && STOP1<=1 && STOP1>=-1){
		TIM4->CCR1=0; //Заносим в регистр значение (0) для изменения скважнести ШИМа
		TIM4->CCR2=0; //Заносим в регистр значение (0) для изменения скважнести ШИМа
	}
	/*Правое колесо*/
	if(R2>400 && STOP2>1){
		TIM4->CCR3=0; //Заносим в регистр значение (0) для изменения скважнести ШИМа
		TIM4->CCR4=R2*STOP2/4; //Заносим в регистр значение (R2*STOP2/4) для изменения скважнести ШИМа
	}
 	if(R2>400 && STOP2<-1){
		TIM4->CCR3=R2*STOP2/-4; //Заносим в регистр значение (R2*STOP2/-4) для изменения скважнести ШИМа
		TIM4->CCR4=0; //Заносим в регистр значение (0) для изменения скважнести ШИМа
	}
	if(R2>400 && STOP2<=1 && STOP2>=-1){
		TIM4->CCR3=0; //Заносим в регистр значение (0) для изменения скважнести ШИМа
		TIM4->CCR4=0; //Заносим в регистр значение (0) для изменения скважнести ШИМа
	}

	/////////////////////////////////////////////////////////////////////////////////////////////////////////////

					/*ABS*/
	  /*Вперёёд*/
	if(ABS==1&&ABSh<-8&&HAL_GPIO_ReadPin (GPIOB,GPIO_PIN_0)==GPIO_PIN_SET&&R2<=400){
		TIM4->CCR1=0; //Заносим в регистр значение (0) для изменения скважнести ШИМа
		TIM4->CCR2=0; //Заносим в регистр значение (0) для изменения скважнести ШИМа
	}
	if(ABS==1&&ABSh>8&&HAL_GPIO_ReadPin (GPIOB,GPIO_PIN_0)==GPIO_PIN_SET&&R2<=400){
		TIM4->CCR3=0; //Заносим в регистр значение (0) для изменения скважнести ШИМа
		TIM4->CCR4=0; //Заносим в регистр значение (0) для изменения скважнести ШИМа
	}

		  /*Назад*/
	if(ABS==1&&ABSh<-8&&HAL_GPIO_ReadPin (GPIOB,GPIO_PIN_1)==GPIO_PIN_SET&&R2<=400){
		TIM4->CCR3=0; //Заносим в регистр значение (0) для изменения скважнести ШИМа
		TIM4->CCR4=0; //Заносим в регистр значение (0) для изменения скважнести ШИМа
	}
	if(ABS==1&&ABSh>8&&HAL_GPIO_ReadPin (GPIOB,GPIO_PIN_1)==GPIO_PIN_SET&&R2<=400){
		TIM4->CCR1=0; //Заносим в регистр значение (0) для изменения скважнести ШИМа
		TIM4->CCR2=0; //Заносим в регистр значение (0) для изменения скважнести ШИМа
	}

	   /*Отключить*/
	if(ABS==1&&ABSh<8&&ABSh>-8&&R2<=400){ //Если подтормаживать не нужно возвращаем в регистры предидущие значения
		if(HAL_GPIO_ReadPin (GPIOB,GPIO_PIN_0)==GPIO_PIN_SET && HAL_GPIO_ReadPin (GPIOA,GPIO_PIN_7)==GPIO_PIN_RESET&&R2<=400){ //Если рычаг переключен вперед (D) и если ручник не опущен:
			TIM4->CCR1=R1; //Заносим в регистр значение (R1) для изменения скважнести ШИМа
			TIM4->CCR2=0; //Заносим в регистр значение (0) для изменения скважнести ШИМа
			TIM4->CCR3=R1; //Заносим в регистр значение (R1) для изменения скважнести ШИМа
			TIM4->CCR4=0; //Заносим в регистр значение (0) для изменения скважнести ШИМа
		}
		if(HAL_GPIO_ReadPin (GPIOB,GPIO_PIN_1)==GPIO_PIN_SET && HAL_GPIO_ReadPin (GPIOA,GPIO_PIN_7)==GPIO_PIN_RESET&&R2<=400){ //иначе, если рычаг переключен назад(R) и если ручник не опущен:
			TIM4->CCR1=0; //Заносим в регистр значение (0) для изменения скважнести ШИМа
			TIM4->CCR2=R1; //Заносим в регистр значение (R1) для изменения скважнести ШИМа
			TIM4->CCR3=0; //Заносим в регистр значение (0) для изменения скважнести ШИМа
			TIM4->CCR4=R1; //Заносим в регистр значение (R1) для изменения скважнести ШИМа
		}
	}

	if(GPIO_Pin== GPIO_PIN_2) { //Если произошло прерывание на пине 3, то

		if(HAL_GPIO_ReadPin (GPIOA,GPIO_PIN_2)==GPIO_PIN_SET){ //если на пин A2 подался сигнал(нажали кнопку), то:
			HAL_GPIO_TogglePin(GPIOA, GPIO_PIN_8); //значение на пине A8 сменится на противоположное.
			if(ABS==1){
				ABS=0; //ABS выключается
			}
			else{ //иначе
				ABS=1; //ABS включается
			}
		}
	}

//////////////////////////////////////////////////////////////////////////////////////////////////////////////////////////////////////
		 /*Ручник*/
	if(GPIO_Pin== GPIO_PIN_7) { //Если произошло прерывание на пине 7, то
	if(HAL_GPIO_ReadPin (GPIOA,GPIO_PIN_7)==GPIO_PIN_SET){ //если на пин A7 подался сигнал(нажали кнопку), то:
	   HAL_GPIO_WritePin (GPIOB, GPIO_PIN_5,GPIO_PIN_SET); //на пин B5 подастся сигнал(светодиод загорится),
	}
	else
		HAL_GPIO_WritePin (GPIOB, GPIO_PIN_5,GPIO_PIN_RESET); // иначе сигнал на пине B5 будет сброшен (светодиод потухнет).
	}
		/*Аварийка*/
	if(GPIO_Pin== GPIO_PIN_6) { //Если произошло прерывание на пине 6, то
		if(HAL_GPIO_ReadPin (GPIOA,GPIO_PIN_6)==GPIO_PIN_SET){ //если на пин A6 подался сигнал(нажали кнопку), то:
			HAL_GPIO_WritePin (GPIOB, GPIO_PIN_4,GPIO_PIN_RESET); //на пине B4 сбрасывается значение(светодиод гаснет),
			HAL_GPIO_WritePin (GPIOA, GPIO_PIN_11,GPIO_PIN_RESET); //на пине A11 сбрасывается значение(светодиод гаснет),
			HAL_GPIO_WritePin (GPIOA, GPIO_PIN_10,GPIO_PIN_RESET); //на пине A10 сбрасывается значение(светодиод гаснет),
			PLCD=3; //Переменная аврийки на ЖК дисплее приравнивается к 3, запуская процесс мигания
			LpLCD=0; //Переменная левого поворотника на ЖК дисплее становится равна 0, тем самым выключая его
			RpLCD=0; //Переменная правого поворотника на ЖК дисплее становится равна 0, тем самым выключая его
			P++; //К переменной "P" прибавится единица,
			Lp=1; //Переменной "Lp" присваивается значение 1,
			Rp=1; //Переменной "Rp" присваивается значение 1.
		}
		if(P>1){ //Если P больше единицы, то
			P=0;Lp=0;Rp=0; //значения P,Lp,Rp становятся равны нулю.
			PLCD=1;  //Значение аварийки на ЖК дисплее становится равным 1, выключая аварийку на ЖК дисплее
		}
	}
		/*Левый поворотник*/
	if(GPIO_Pin== GPIO_PIN_5){ //Если произошло прерывание на пине 5, то
	if(P==0){	//если переменная "P" равна нулю то
  if(HAL_GPIO_ReadPin (GPIOA,GPIO_PIN_5)==GPIO_PIN_SET){ //если на пин A5 подался сигнал(нажали кнопку), то:
		Lp++;	//к переменной "Lp" прибавится единица,
		LpLCD=3; //Переменная левого поворотника на ЖК дисплее приравнивается к 3, запуская процесс мигания
    Rp=0;	//значение Rp станет равно нулю;
    RpLCD=1; //Переменная правого поворотника на ЖК дисплее приравнивается к 1,	выключая правый поворотник
		}
	if(Lp>1){ //Если Lp больше единицы, то
	  Lp=0; //значение Lp станет равно нулю.
		LpLCD=1; //Переменная левого поворотника на ЖК дисплее приравнивается к 1,	выключая левый поворотник
		}
	}
	}
	/*Правый поворотник*/
	if(GPIO_Pin== GPIO_PIN_4){ //Если произошло прерывание на пине 4, то
	if(P==0){ //если переменная "P" равна нулю то,
  if(HAL_GPIO_ReadPin (GPIOA,GPIO_PIN_4)==GPIO_PIN_SET){ //если на пин A4 подался сигнал(нажали кнопку), то:
	  Rp++;	//к переменной "Rp" прибавится единица,
		RpLCD=3; //Переменная правого поворотника на ЖК дисплее приравнивается к 3, запуская процесс мигания
    Lp=0;	//значение Lp станет равно нулю;
    LpLCD=1; //Переменная левого поворотника на ЖК дисплее приравнивается к 1,	выключая левый поворотник
		}
 	if(Rp>1){ //Если Rp больше единицы, то
		Rp=0; //значение Rp станет равно нулю.
		RpLCD=1; //Переменная правого поворотника на ЖК дисплее приравнивается к 1,	выключая правый поворотник
		}
	 }
 }
	/*Фары*/
	if(GPIO_Pin== GPIO_PIN_3) { //Если произошло прерывание на пине 3, то
	 if(HAL_GPIO_ReadPin (GPIOA,GPIO_PIN_3)==GPIO_PIN_SET){ //если на пин A3 подался сигнал(нажали кнопку), то:
	  HAL_GPIO_TogglePin(GPIOA, GPIO_PIN_9); //значение на пине A9 сменится на противоположное.
		 }
	}
//////////////////////////////////////////////////////////////////////////////////////////////
	/*Прерывания для энкодеров*/
	// 1 мотор
  if(GPIO_Pin== GPIO_PIN_12){ //Если произошло прерывание на пине 12, то
		RPMHl++; //Считываем скорость вращения
		Mileage1++; //Считываем пробег
		if(HAL_GPIO_ReadPin (GPIOB,GPIO_PIN_12)==GPIO_PIN_SET && HAL_GPIO_ReadPin (GPIOB,GPIO_PIN_13)==GPIO_PIN_RESET ){ //Если колеса крутятся вперед
			if(STOP2<4){
				STOP2++; //Увеличиваем переменную STOP2
			}
			if(ABSh<10){
				ABSh++; //Увеличиваем переменную ABSh
			}
		}
	}
  if(GPIO_Pin== GPIO_PIN_13){ //Если произошло прерывание на пине 13, то
		if(HAL_GPIO_ReadPin (GPIOB,GPIO_PIN_12)==GPIO_PIN_RESET && HAL_GPIO_ReadPin (GPIOB,GPIO_PIN_13)==GPIO_PIN_SET ){ //Если колеса крутятся назад
			if(STOP2>-4){
				STOP2--; //Уменьшаем переменную STOP2
			}
			if(ABSh>-10){
				ABSh--; //Уменьшаем переменную ABSh
			}
		}
	}
	// 2 мотор
	if(GPIO_Pin== GPIO_PIN_14){ //Если произошло прерывание на пине 14, то
		RPMHr++; //Считываем скорость вращения
		Mileage2++; //Считываем пробег
		if(HAL_GPIO_ReadPin (GPIOB,GPIO_PIN_14)==GPIO_PIN_SET && HAL_GPIO_ReadPin (GPIOB,GPIO_PIN_15)==GPIO_PIN_RESET ){ //Если колеса крутятся вперед
			if(STOP1<4){
				STOP1++; //Увеличиваем переменную STOP1
			}
			if(ABSh>-10){
				ABSh--; //Уменьшаем переменную ABSh
			}
		}
	}
  if(GPIO_Pin== GPIO_PIN_15){ //Если произошло прерывание на пине 15, то
		if(HAL_GPIO_ReadPin (GPIOB,GPIO_PIN_14)==GPIO_PIN_RESET && HAL_GPIO_ReadPin (GPIOB,GPIO_PIN_15)==GPIO_PIN_SET ){ //Если колеса крутятся назад
			if(STOP1>-4){
				STOP1--; //Уменьшаем переменную STOP1
			}
			if(ABSh<10){
				ABSh++; //Увеличиваем переменную ABSh
			}
		}
	}
}
/* USER CODE END 4 */

void _Error_Handler(char *file, int line)
{
  while(1)
  {
  }
}

/************************ (C) COPYRIGHT STMicroelectronics *****END OF FILE****/
